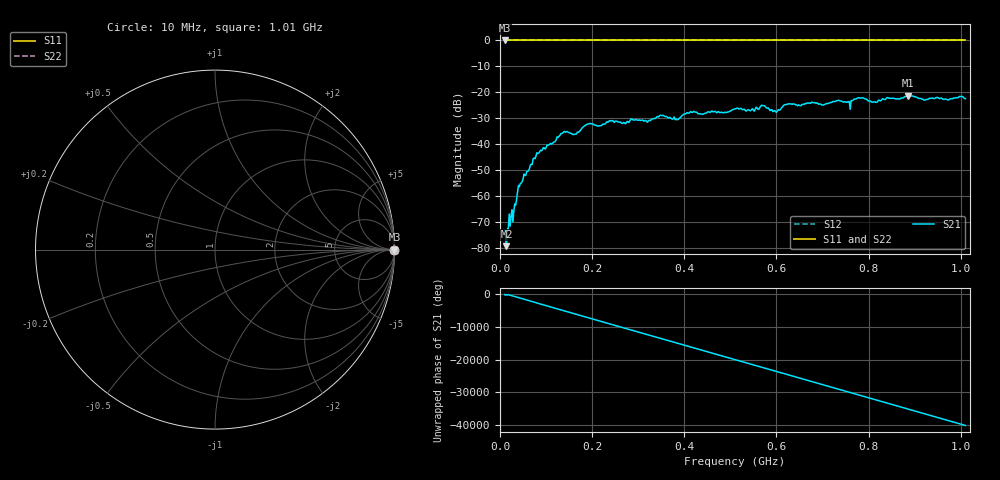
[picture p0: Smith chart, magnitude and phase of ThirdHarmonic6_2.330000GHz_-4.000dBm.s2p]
! 8/17/2025 3:21:57 AM
! C:\ANRITSUVNA\TEMP\TEMP.S2P
! CHANNEL.1
! TR.MEASUREMENT
! RAW.DATA
! RF.CORRECTION.OFF
! AVERAGING.OFF
! IF.BANDWIDTH: 5KHZ
! SWEEPTYPE:  FREQ.SWEEP(Linear)
! Reference Plane Port Info
! PORT:  PORT1  PORT2
! DISTANCE:  0  m  0  m
! TIME:  0  s  0  s
! PHASE.OFFSET:  0  deg.  0  deg.
! LOSS:  0  dB  0  dB
! REF.LOSS:  0  dB  0  dB
! REF.FREQ:  0  Hz  0  Hz
! Power Info
! POWER:  -20  dBm  -20  dBm
! EFF.POWER:  -20  dBm  -20  dBm
! SOURCE.ATTEN:  0  dB  0  dB
! TEST.ATTEN:  0  dB  0  dB
# GHZ S RI R 50.0
! FREQ.GHZ  S11RE  S11IM  S21RE  S21IM  S12RE  S12IM  S22RE  S22IM
!; PortSelection: Port_12
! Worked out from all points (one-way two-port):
!   501 points, 10 MHz to 1.01 GHz, reference 50 ohm
!   highest |S21| = -21.23 dB at 886 MHz (marker M1); lowest = -79.2 dB at 14 MHz (marker M2)
!   lowest |S11| = 0.0 dB at 10 MHz (marker M3)
!   |S11| at or under -10 dB: nowhere
!   |S22| runs from 0.0 to 0.0 dB; largest |S21 - S12| = 1.1
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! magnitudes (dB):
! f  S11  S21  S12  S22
! 10 MHz  0.0  -73.1  0.0  0.0
! 14 MHz  0.0  -79.2  0.0  0.0
! 22 MHz  0.0  -71.5  0.0  0.0
! 32 MHz  0.0  -63.0  0.0  0.0
! 42 MHz  0.0  -56.3  0.0  0.0
! 76 MHz  0.0  -45.6  0.0  0.0
! 136 MHz  0.0  -35.6  0.0  0.0
! 162 MHz  0.0  -36.1  0.0  0.0
! 178 MHz  0.0  -33.7  0.0  0.0
! 194 MHz  0.0  -32.0  0.0  0.0
! 322 MHz  0.0  -31.0  0.0  0.0
! 344 MHz  0.0  -29.5  0.0  0.0
! 384 MHz  0.0  -30.5  0.0  0.0
! 416 MHz  0.0  -27.7  0.0  0.0
! 510 MHz  0.0  -26.4  0.0  0.0
! 570 MHz  0.0  -25.1  0.0  0.0
! 596 MHz  0.0  -27.0  0.0  0.0
! 622 MHz  0.0  -24.6  0.0  0.0
! 678 MHz  0.0  -23.9  0.0  0.0
! 844 MHz  0.0  -22.2  0.0  0.0
! 886 MHz  0.0  -21.2  0.0  0.0
! 1.01 GHz  0.0  -22.4  0.0  0.0
